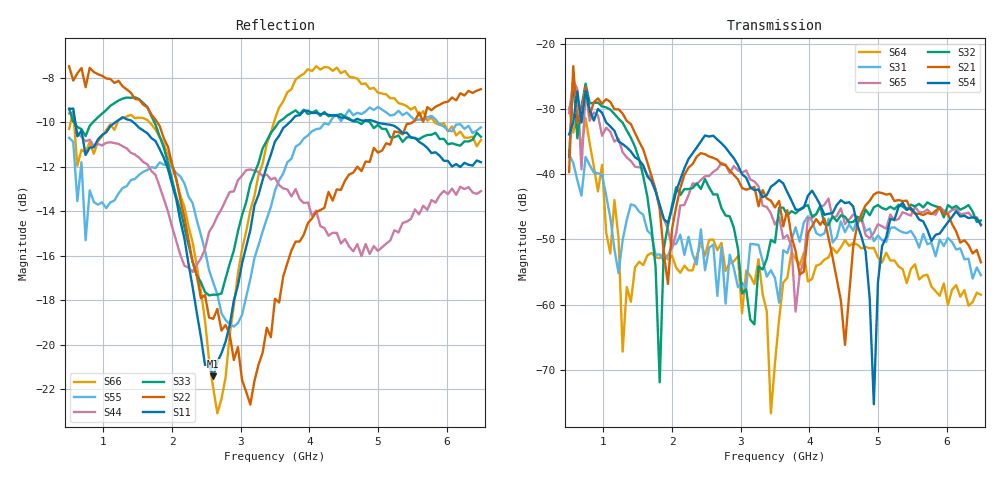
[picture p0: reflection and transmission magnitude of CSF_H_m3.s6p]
!Keysight Technologies,M9804A,MY58100912,A.14.10.03
!Date: Thursday, April 27, 2023 10:28:33
!Correction: S11(C  6-Port  )
!S12(C  6-Port  )
!S13(C  6-Port  )
!S14(C  6-Port  )
!S15(C  6-Port  )
!S16(C  6-Port  )
!S21(C  6-Port  )
!S22(C  6-Port  )
!S23(C  6-Port  )
!S24(C  6-Port  )
!S25(C  6-Port  )
!S26(C  6-Port  )
!S31(C  6-Port  )
!S32(C  6-Port  )
!S33(C  6-Port  )
!S34(C  6-Port  )
!S35(C  6-Port  )
!S36(C  6-Port  )
!S41(C  6-Port  )
!S42(C  6-Port  )
!S43(C  6-Port  )
!S44(C  6-Port  )
!S45(C  6-Port  )
!S46(C  6-Port  )
!S51(C  6-Port  )
!S52(C  6-Port  )
!S53(C  6-Port  )
!S54(C  6-Port  )
!S55(C  6-Port  )
!S56(C  6-Port  )
!S61(C  6-Port  )
!S62(C  6-Port  )
!S63(C  6-Port  )
!S64(C  6-Port  )
!S65(C  6-Port  )
!S66(C  6-Port  )
!S6P File: Measurement: :
# Hz S  RI  R 50
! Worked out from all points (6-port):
!   101 points, 500 MHz to 6.5 GHz, reference 50 ohm
!   strongest paths, dB at 500 MHz, 2 GHz, 3.5 GHz, 5 GHz, 6.5 GHz:
!     S54: -33.9, -45.3, -41.5, -56.6, -47.8
!     S21: -39.7, -48.4, -45.1, -42.8, -53.5
!     S32: -37.4, -44.8, -50.5, -44.8, -47.1
!     S65: -30.7, -51.4, -47.7, -47.7, -47.9
!     S31: -37.0, -50.9, -56.0, -49.4, -55.5
!     S64: -29.8, -52.5, -68.9, -52.8, -58.5
!   lowest |S11| = -21.4 dB at 2.6 GHz (marker M1), VSWR 1.19, Z = 42.5 + j2.18 ohm
!   |S11| at or under -10 dB: 589.7 MHz to 1.175 GHz (584.9 MHz wide, 66.3 % of centre); 1.436 GHz to 3.712 GHz (2.277 GHz wide, 88.4 % of centre); 4.982 GHz to end of sweep
